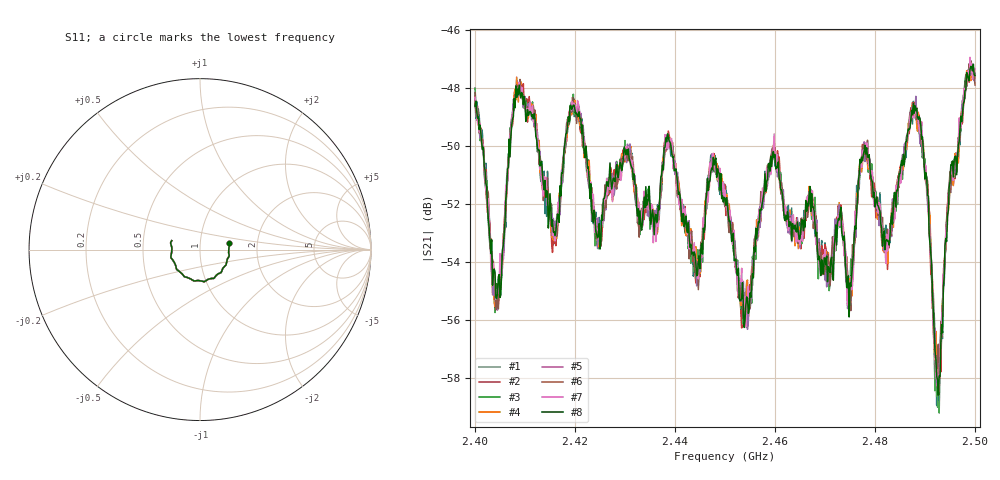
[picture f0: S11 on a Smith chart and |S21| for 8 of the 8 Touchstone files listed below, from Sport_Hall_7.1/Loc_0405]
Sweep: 2.4 GHz to 2.5 GHz
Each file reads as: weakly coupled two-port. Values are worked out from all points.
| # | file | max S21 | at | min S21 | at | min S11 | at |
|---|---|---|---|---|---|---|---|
| 1 | Lab_139_1Ch1.s2p | -47.17 dB | 2.4992 GHz | -59.0 dB | 2.4923 GHz | -15.7 dB | 2.4935 GHz |
| 2 | Lab_139_2Ch1.s2p | -47.25 dB | 2.4992 GHz | -58.3 dB | 2.4927 GHz | -15.7 dB | 2.4933 GHz |
| 3 | Lab_139_3Ch1.s2p | -47.16 dB | 2.4995 GHz | -59.2 dB | 2.4928 GHz | -15.7 dB | 2.4935 GHz |
| 4 | Lab_139_4Ch1.s2p | -47.27 dB | 2.4993 GHz | -58.2 dB | 2.4927 GHz | -15.7 dB | 2.4935 GHz |
| 5 | Lab_139_6Ch1.s2p | -47.24 dB | 2.4993 GHz | -58.3 dB | 2.4923 GHz | -15.7 dB | 2.4935 GHz |
| 6 | Lab_139_7Ch1.s2p | -47.05 dB | 2.4992 GHz | -58.5 dB | 2.4928 GHz | -15.7 dB | 2.4933 GHz |
| 7 | Lab_139_8Ch1.s2p | -46.93 dB | 2.499 GHz | -58.4 dB | 2.4927 GHz | -15.7 dB | 2.4935 GHz |
| 8 | Lab_139_9Ch1.s2p | -47.17 dB | 2.4997 GHz | -58.6 dB | 2.4927 GHz | -15.7 dB | 2.4935 GHz |
